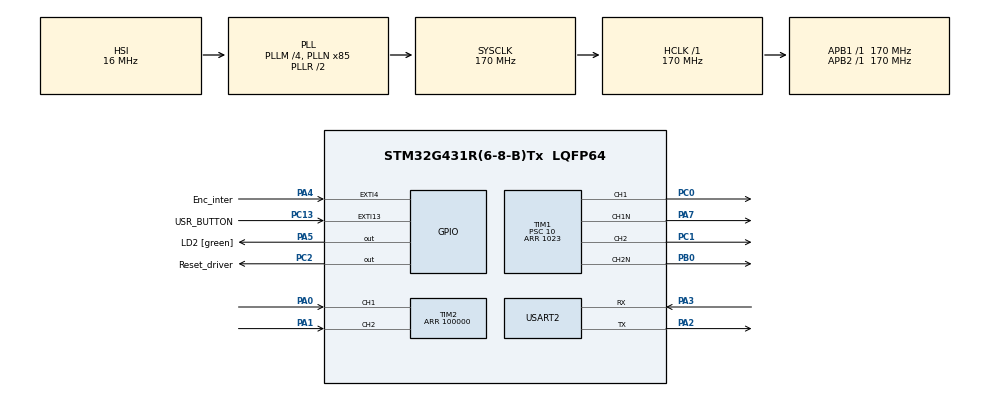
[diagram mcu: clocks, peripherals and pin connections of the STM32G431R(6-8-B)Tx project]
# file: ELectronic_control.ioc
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Mcu.Family=STM32G4
Mcu.Name=STM32G431R(6-8-B)Tx
Mcu.Package=LQFP64
NVIC.EXTI4_IRQn=true\:0\:0\:false\:false\:true\:true\:true
NVIC.PriorityGroup=NVIC_PRIORITYGROUP_4
NVIC.TIM2_IRQn=true\:0\:0\:false\:false\:true\:true\:true
NVIC.TIM4_IRQn=true\:0\:0\:false\:false\:true\:true\:true
NVIC.USART2_IRQn=true\:0\:0\:false\:false\:true\:true\:true
PA0.Signal=S_TIM2_CH1
PA1.Signal=S_TIM2_CH2
PA13.GPIO_Label=T_SWDIO
PA13.Mode=Serial_Wire
PA13.Signal=SYS_JTMS-SWDIO
PA14.GPIO_Label=T_SWCLK
PA14.Mode=Serial_Wire
PA14.Signal=SYS_JTCK-SWCLK
PA2.Mode=Asynchronous
PA2.Signal=USART2_TX
PA3.Mode=Asynchronous
PA3.Signal=USART2_RX
PA4.GPIO_Label=Enc_inter
PA4.Signal=GPXTI4
PA5.GPIO_Label=LD2 [green]
PA5.Signal=GPIO_Output
PA7.Mode=PWM Generation1 CH1 CH1N
PA7.Signal=TIM1_CH1N
PB0.Mode=PWM Generation2 CH2 CH2N
PB0.Signal=TIM1_CH2N
PB3.GPIO_Label=T_SWO
PB3.Signal=SYS_JTDO-SWO
PC0.Signal=S_TIM1_CH1
PC1.Signal=S_TIM1_CH2
PC13.GPIO_Label=USR_BUTTON
PC13.Signal=GPXTI13
PC14-OSC32_IN.Mode=LSE-External-Oscillator
PC14-OSC32_IN.Signal=RCC_OSC32_IN
PC15-OSC32_OUT.Mode=LSE-External-Oscillator
PC15-OSC32_OUT.Signal=RCC_OSC32_OUT
PC2.GPIO_Label=Reset_driver
PC2.Signal=GPIO_Output
PF0-OSC_IN.Mode=HSE-External-Oscillator
PF0-OSC_IN.Signal=RCC_OSC_IN
PF1-OSC_OUT.Mode=HSE-External-Oscillator
PF1-OSC_OUT.Signal=RCC_OSC_OUT
ProjectManager.HeapSize=0x200
ProjectManager.StackSize=0x400
ProjectManager.TargetToolchain=STM32CubeIDE
RCC.ADC12Freq_Value=170000000
RCC.AHBFreq_Value=170000000
RCC.APB1Freq_Value=170000000
RCC.APB1TimFreq_Value=170000000
RCC.APB2Freq_Value=170000000
RCC.APB2TimFreq_Value=170000000
RCC.CortexFreq_Value=170000000
RCC.EXTERNAL_CLOCK_VALUE=12288000
RCC.HCLKFreq_Value=170000000
RCC.HSE_VALUE=24000000
RCC.HSI48_VALUE=48000000
RCC.HSI_VALUE=16000000
RCC.PLLM=RCC_PLLM_DIV4
RCC.PLLN=85
RCC.RTCClockSelection=RCC_RTCCLKSOURCE_LSE
RCC.SYSCLKFreq_VALUE=170000000
RCC.SYSCLKSource=RCC_SYSCLKSOURCE_PLLCLK
RCC.USBFreq_Value=170000000
RCC.VCOOutputFreq_Value=340000000
SH.S_TIM1_CH1.0=TIM1_CH1,PWM Generation1 CH1 CH1N
SH.S_TIM1_CH2.0=TIM1_CH2,PWM Generation2 CH2 CH2N
SH.S_TIM2_CH1.0=TIM2_CH1,Encoder_Interface
SH.S_TIM2_CH2.0=TIM2_CH2,Encoder_Interface
TIM1.Channel-PWM\ Generation1\ CH1\ CH1N=TIM_CHANNEL_1
TIM1.Channel-PWM\ Generation2\ CH2\ CH2N=TIM_CHANNEL_2
TIM1.DeadTime=203
TIM1.Dithering=Disable
TIM1.PeriodNoDither=1023
TIM1.Prescaler=10
TIM2.PeriodNoDither=100000
TIM4.PeriodNoDither=10000-1
TIM4.Prescaler=1700-1
USART2.VirtualMode-Asynchronous=VM_ASYNC
VP_SYS_VS_DBSignals.Mode=DisableDeadBatterySignals
VP_TIM4_VS_ClockSourceINT.Mode=Internal
board=NUCLEO-G431RB

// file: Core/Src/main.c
/* USER CODE BEGIN Header */
/**
 ******************************************************************************
 * @file           : main.c
 * @brief          : Main program body
 ******************************************************************************
 * @attention
 *
 * <h2><center>&copy; Copyright (c) 2020 STMicroelectronics.
 * All rights reserved.</center></h2>
 *
 * This software component is licensed by ST under BSD 3-Clause license,
 * the "License"; You may not use this file except in compliance with the
 * License. You may obtain a copy of the License at:
 *                        opensource.org/licenses/BSD-3-Clause
 *
 ******************************************************************************
 */
/* USER CODE END Header */
#include "main.h"
#include "tim.h"
#include "usart.h"
#include "gpio.h"

/* USER CODE BEGIN Includes */
#include <stdio.h>
#include <stdlib.h>
#include "shell.h"
/* USER CODE END Includes */

/* USER CODE BEGIN PV */
#define STACK_SIZE 1000
#define TAB_SIZE 10
/*
 * Variables defined to allow various controls
 */
uint32_t actual_alpha = 512;
uint32_t target_alpha= 512;
uint32_t aimed_speed;
/*
 * Defining buffers and variables to realize the calculus of speed values
 */
float error_speed[3];
float send_speed[3];
float ppt=1;
float pos[3];
float speed_buf[3];
float t_alpha;
/*
 * Defining PID control Gains and constants
 */
float KP = 0.06;
float KI = 0.05;
float KD = 0.01;
float Te=0.000556;
/*
 * Interruptions variables required to identification
 */
int Button_pressed;
int it_count=0;
int select_control;
static char prompt[] = "Guerin-Perret@Nucleo-G431>> ";

/* USER CODE END PV */

void SystemClock_Config(void);

/* USER CODE BEGIN 0 */
/*
 * Pinout description accesible from shell command line
 */
int pinout(int argc, char ** argv){

	printf("PIN PA2 : USART2_TX --> USART connection to the computer\r\n");
	printf("PIN PA3 : USART2_RX --> USART connection to the computer\r\n");
	printf("PIN PC13 : GPIO_EXTI13 --> User button to perform the ignition sequence \r\n");
	printf("PIN PC1 : TIM1_CH2 --> Command_R_TOP / chopper PIN 13 \r\n");
	printf("PIN PB0 : TIM1_CH2N --> Command_R_BOT / chopper PIN 31\r\n");
	printf("PIN PC0 : TIM1_CH1 --> Command_Y_TOP / chopper PIN 12 \r\n");
	printf("PIN PA7 : TIM1_CH1N --> Command_Y_BOT / chopper PIN 30 \r\n");
	printf("PIN PC2 : GPIO_OUTPUT --> Reset_Driver / chopper PIN 33 \r\n");
	printf("PIN PA4 : GPIO_EXTI4 --> encoder Z output \r\n");
	printf("PIN PA0 : TIM2_CH1 --> Encoder A output \r\n");
	printf("PIN PA1 : TIM2_CH2 --> Encoder B output \r\n");
	return 0;
}
/*
 * Timer description to justify their use
 */
int timer(int argc, char ** argv){
	printf("TIM1 : PWM \r\n");
	printf("TIM2: Encoder mode \r\n");
	printf("TIM4 : asserv courant basique\r\n");
	printf("TIM6 : count in second \r\n");
	return 0;
}

int start(int argc, char ** argv){
	//Initiate Reset on driver Sequence
	printf("Initiate Reset pin \r\n");
	HAL_GPIO_WritePin(Reset_driver_GPIO_Port, Reset_driver_Pin, 0);
	HAL_GPIO_WritePin(Reset_driver_GPIO_Port, Reset_driver_Pin, 1);
	HAL_Delay(1);
	HAL_GPIO_WritePin(Reset_driver_GPIO_Port, Reset_driver_Pin, 0);
	//Starts PWM generation for full H bridge
	printf("Initiate PWM command \r\n");
	HAL_TIM_PWM_Start(&htim1, TIM_CHANNEL_1);
	HAL_TIM_PWM_Start(&htim1, TIM_CHANNEL_2);
	HAL_TIMEx_PWMN_Start(&htim1, TIM_CHANNEL_1);
	HAL_TIMEx_PWMN_Start(&htim1, TIM_CHANNEL_2);
	//Initiate encoder mode with two channels available
	printf("Initialize encoder mode \r\n");
	HAL_TIM_Encoder_Start(&htim2,TIM_CHANNEL_ALL);
	//Begin buffer init
	pos[0]=0;
	pos[1]=0;
	pos[2]=0;
	printf("Initialized position values \r\n");
	speed_buf[0]=0;
	speed_buf[1]=0;
	speed_buf[2]=0;
	error_speed[0]=0;
	error_speed[1]=0;
	error_speed[2]=0;
	send_speed[0]=0;
	send_speed[1]=0;
	send_speed[2]=0;
	return 0;
}
/*
 * This function aims at stopping gently the moto without provoking HALL Overcurrent situations
 */
int stop(int argc, char ** argv){
	printf("Shutting down motor\r\n");
	aimed_speed=0;
	if( (float)aimed_speed!=send_speed[2]){
		HAL_TIM_Base_Start_IT(&htim4);
	}
	TIM1->CCR1=512;
	TIM1->CCR2=512;
	return 0;
}
/*
 *This function initiate regularly interruptions calling upon another function to realise current control.
 */
int speed(int argc, char ** argv){
	select_control=0;
	target_alpha = atoi(argv[3]);
	printf("La vitesse demandée est %lu \r\n", target_alpha);
	printf("Target speed %lu \r\n", target_alpha);
	printf("Actual speed %lu \r\n", actual_alpha);
	if(actual_alpha!=target_alpha){
		TIM1->CCR1=actual_alpha;
		TIM1->CCR2=1024-actual_alpha;
		HAL_TIM_Base_Start_IT(&htim4);
	}
	return 0;
}
/*
 * This function by setting up the speed higher and higher each iteration allows the user to realize a current control
 * This current control is made by hand and do know use a PID method
 */
int auto_speedup(){
	if(actual_alpha<target_alpha){
		actual_alpha++;
		TIM1->CCR1=actual_alpha;
		TIM1->CCR2=1024-actual_alpha;
		printf("Actual speed = %lu \r\n", actual_alpha);
	}
	else if(actual_alpha>target_alpha){
		actual_alpha--;
		TIM1->CCR1=actual_alpha;
		TIM1->CCR2=1024-actual_alpha;
		printf("Actual speed = %lu \r\n", actual_alpha);
	}
	else{
		HAL_TIM_Base_Start_IT(&htim4);
	}
	return 0;
}
/*
 * This pid_auto method was not tested on the real motor but on much smaller ones, the steps are similars but it would be
 * strange (and lucky) that the pid works as expect on the first attempt. If the pid is not well configured, parameters can
 * be changed above.
 */
int pid_auto(int argc, char ** argv){
	select_control=1;
	aimed_speed = atoi(argv[1]);
	printf("target speed = %lu \r\n", aimed_speed );
	if(aimed_speed!=speed_buf[1])	{
		HAL_TIM_Base_Start_IT(&htim4);

	}else{
		printf("Speed already achieved \r\n");
	}
	return 0;

}
/*
 * Function called by pid_auto(), the strategy is to memorize in a buffer old values and to follow the numerical equation given
 * by the automation course. Once the speed which needs to be sent to the machine is calculated, a conversion to cycle is made.
 * This conversion is based on the fact that when the cycle equals 1024, mean voltage equals 48V and speed 3000 rpm. Here from
 * the speed, we want to calculate the value of the cycle. Negative speeds are not recommanded, since we did not have the time
 * to adapt.
 */
int pid(){
	printf("Target value is %lu \r\n", aimed_speed);
	pos[0]=pos[1];
	pos[1]=pos[2];
	pos[2]=(TIM2->CNT)>>2;
	speed_buf[0]=speed_buf[1];
	speed_buf[1]=speed_buf[2];
	speed_buf[2]=(pos[2]-pos[1])*100/(100000*ppt);
	error_speed[0]=error_speed[1];
	error_speed[1]=error_speed[2];
	error_speed[2]=aimed_speed-speed_buf[1];
	send_speed[0]=send_speed[1];
	send_speed[1]=send_speed[2];
	send_speed[2]=KP*error_speed[2]-KP*error_speed[0]+KI*(Te/2)*error_speed[2]-KI*Te*error_speed[1]+error_speed[0]+KD*(Te/2)*error_speed[2]-2*KD*(Te/2)*error_speed[1]+KD*error_speed[0]+send_speed[0];
	t_alpha=abs(512+(uint32_t)(send_speed[2]/1024*3000));
	if(t_alpha>810){
		TIM1->CCR1=810;
		TIM1->CCR2=1024-810;
		HAL_TIM_Base_Start_IT(&htim4);
	}if(t_alpha<810){
		TIM1->CCR1=t_alpha;
		TIM1->CCR2=1024-t_alpha;
		HAL_TIM_Base_Start_IT(&htim4);
	}if(send_speed[2]==(float)aimed_speed){
		printf("Target speed reached, motor is running at %lu \r\n",aimed_speed);
		HAL_TIM_Base_Stop_IT(&htim4);
	}

	return 0;
}

/* USER CODE END 0 */

int main(void)
{

  /* MCU Configuration--------------------------------------------------------*/

  /* Reset of all peripherals, Initializes the Flash interface and the Systick. */
  HAL_Init();

  /* Configure the system clock */
  SystemClock_Config();

  /* Initialize all configured peripherals */
  MX_GPIO_Init();
  MX_TIM1_Init();
  MX_USART2_UART_Init();
  MX_TIM4_Init();
  MX_TIM2_Init();
  /* USER CODE BEGIN 2 */
	//Creating shell command line
	shell_init();
	shell_add('P', pinout, "*Pinout : Display of used pins* \r\n -->Command : <P> \r\n -->Output : lists all used pins and their uses. \r\n");
	shell_add('T', timer, "*Timer : Display of used pins* \r\n -->Command : <T> \r\n -->Output : lists all used timers and their uses. \r\n");
	shell_add('G', start, "*Go - Start* \r\n -->Command : <G> \r\n -->Output : turns on the motor power stage.\r\n");
	shell_add('S', stop, "*Stop* \r\n -->Command : <S>\r\n -->Output : turns off the motor power stage.\r\n");
	shell_add('s', speed, "*Speed* \r\n -->Command : <s> <cycle> <=> <XXXX>\r\n -->Output : controls the motor at the desired cycle (value/1024)\r\n");
	shell_add('p', pid_auto, "*Electronic speed control \r\n --> Command <p> <speed> <=> <XXX> \r\n --> Output: PID control of the motor, speed is in rpm \r\n");

	shell_run();

  /* USER CODE END 2 */

  /* Infinite loop */
	while (1)
	{

	}
}

void SystemClock_Config(void)
{
  RCC_OscInitTypeDef RCC_OscInitStruct = {0};
  RCC_ClkInitTypeDef RCC_ClkInitStruct = {0};
  RCC_PeriphCLKInitTypeDef PeriphClkInit = {0};

  /** Configure the main internal regulator output voltage
  */
  HAL_PWREx_ControlVoltageScaling(PWR_REGULATOR_VOLTAGE_SCALE1_BOOST);
  /** Initializes the RCC Oscillators according to the specified parameters
  * in the RCC_OscInitTypeDef structure.
  */
  RCC_OscInitStruct.OscillatorType = RCC_OSCILLATORTYPE_HSI;
  RCC_OscInitStruct.HSIState = RCC_HSI_ON;
  RCC_OscInitStruct.HSICalibrationValue = RCC_HSICALIBRATION_DEFAULT;
  RCC_OscInitStruct.PLL.PLLState = RCC_PLL_ON;
  RCC_OscInitStruct.PLL.PLLSource = RCC_PLLSOURCE_HSI;
  RCC_OscInitStruct.PLL.PLLM = RCC_PLLM_DIV4;
  RCC_OscInitStruct.PLL.PLLN = 85;
  RCC_OscInitStruct.PLL.PLLP = RCC_PLLP_DIV2;
  RCC_OscInitStruct.PLL.PLLQ = RCC_PLLQ_DIV2;
  RCC_OscInitStruct.PLL.PLLR = RCC_PLLR_DIV2;
  if (HAL_RCC_OscConfig(&RCC_OscInitStruct) != HAL_OK)
  {
    Error_Handler();
  }
  /** Initializes the CPU, AHB and APB buses clocks
  */
  RCC_ClkInitStruct.ClockType = RCC_CLOCKTYPE_HCLK|RCC_CLOCKTYPE_SYSCLK
                              |RCC_CLOCKTYPE_PCLK1|RCC_CLOCKTYPE_PCLK2;
  RCC_ClkInitStruct.SYSCLKSource = RCC_SYSCLKSOURCE_PLLCLK;
  RCC_ClkInitStruct.AHBCLKDivider = RCC_SYSCLK_DIV1;
  RCC_ClkInitStruct.APB1CLKDivider = RCC_HCLK_DIV1;
  RCC_ClkInitStruct.APB2CLKDivider = RCC_HCLK_DIV1;

  if (HAL_RCC_ClockConfig(&RCC_ClkInitStruct, FLASH_LATENCY_4) != HAL_OK)
  {
    Error_Handler();
  }
  /** Initializes the peripherals clocks
  */
  PeriphClkInit.PeriphClockSelection = RCC_PERIPHCLK_USART2;
  PeriphClkInit.Usart2ClockSelection = RCC_USART2CLKSOURCE_PCLK1;
  if (HAL_RCCEx_PeriphCLKConfig(&PeriphClkInit) != HAL_OK)
  {
    Error_Handler();
  }
}

/* USER CODE BEGIN 4 */

void HAL_GPIO_EXTI_Callback(uint16_t GPIO_Pin){
	if ( GPIO_Pin == USR_BUTTON_Pin ) {
		GPIO_PinState PinState;
		PinState = HAL_GPIO_ReadPin( USR_BUTTON_GPIO_Port, USR_BUTTON_Pin);
		if ( PinState == GPIO_PIN_RESET ){
			Button_pressed = 1;
			char g = 'G';
			char * buf = 'G';
			printf("User Button\r\n");
			shell_exec(g, buf);
			uart_write(prompt, 28);
		}
		else {
			Button_pressed = 0;
		}
	}	if(GPIO_Pin==Enc_inter_Pin){
		uint32_t z = HAL_GPIO_ReadPin(Enc_inter_GPIO_Port, Enc_inter_Pin);
		uint32_t ppt_cal;
		if(z==1){
			if(it_count==0){
				it_count++;
				ppt_cal=TIM2->CNT;
			}if(it_count==1){
				ppt=TIM2->CNT-ppt_cal;
			}
		}

	}
}

void HAL_TIM_PeriodElapsedCallback(TIM_HandleTypeDef *htim){
	if(htim ==&htim4 && select_control==0){
		auto_speedup();
	}if(htim==&htim4 && select_control == 0){
		pid();
	}
}

/* USER CODE END 4 */

void Error_Handler(void)
{
}

/************************ (C) COPYRIGHT STMicroelectronics *****END OF FILE****/
